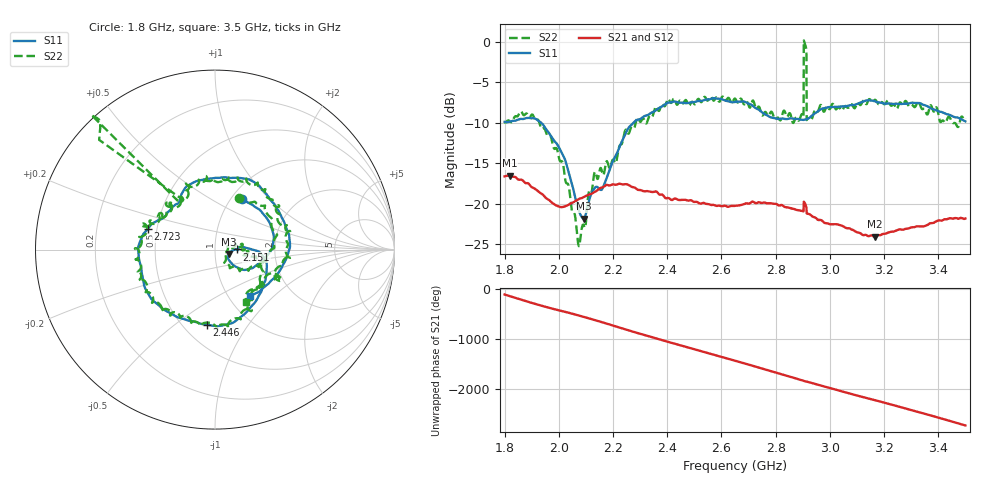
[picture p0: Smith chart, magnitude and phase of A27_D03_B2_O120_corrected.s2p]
! Created with skrf 1.9.0 (http://scikit-rf.org).
# Hz S RI R 50.0
!freq ReS11 ImS11 ReS21 ImS21 ReS12 ImS12 ReS22 ImS22
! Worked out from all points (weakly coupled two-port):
!   1601 points, 1.8 GHz to 3.5 GHz, reference 50 ohm
!   highest |S21| = -16.53 dB at 1.819 GHz (marker M1); lowest = -24.1 dB at 3.165 GHz (marker M2)
!   lowest |S11| = -21.9 dB at 2.091 GHz (marker M3), VSWR 1.18, Z = 58.2 - j2.91 ohm
!   |S11| at or under -10 dB: 1.935 GHz to 2.275 GHz (340.5 MHz wide, 16.2 % of centre)
!   |S22| runs from -25.3 to 0.2 dB; largest |S21 - S12| = 0.0026
!   S11 on the Smith chart (normalised r, x): 1.8 GHz: 1.13, +0.71; 2.151 GHz: 1.28, +0.00; 2.446 GHz: 0.65, -0.66; 2.723 GHz: 0.44, +0.12; 3.5 GHz: 1.25, -0.72
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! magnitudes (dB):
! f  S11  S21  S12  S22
! 1.8 GHz  -9.9  -16.6  -16.6  -9.9
! 1.819 GHz  -9.9  -16.5  -16.6  -9.8
! 1.968 GHz  -11.5  -19.7  -19.7  -11.6
! 2.015 GHz  -13.9  -20.4  -20.4  -15.0
! 2.072 GHz  -20.7  -19.5  -19.5  -25.1
! 2.084 GHz  -21.6  -19.3  -19.3  -23.2
! 2.091 GHz  -21.9  -19.2  -19.3  -22.6
! 2.151 GHz  -18.2  -18.1  -18.2  -15.9
! 2.259 GHz  -10.5  -17.7  -17.7  -11.3
! 2.367 GHz  -8.2  -18.8  -18.7  -8.5
! 2.446 GHz  -7.5  -19.6  -19.6  -7.3
! 2.65 GHz  -7.4  -20.3  -20.3  -7.0
! 2.723 GHz  -8.1  -19.9  -19.8  -7.9
! 2.886 GHz  -9.6  -20.8  -20.8  -9.7
! 2.894 GHz  -9.6  -20.9  -20.9  -9.0
! 2.905 GHz  -9.6  -19.8  -19.8  0.1
! 2.912 GHz  -9.6  -20.4  -20.3  -0.8
! 2.923 GHz  -9.4  -21.3  -21.3  -9.5
! 2.934 GHz  -9.1  -21.6  -21.5  -9.5
! 3.165 GHz  -7.3  -24.1  -24.1  -7.2
! 3.217 GHz  -7.6  -23.6  -23.5  -7.4
! 3.5 GHz  -9.8  -21.8  -21.8  -9.4
